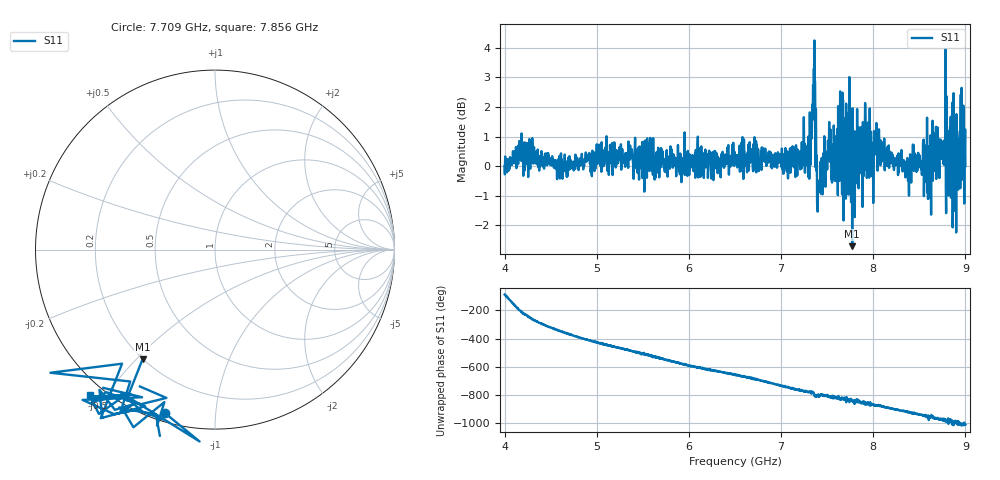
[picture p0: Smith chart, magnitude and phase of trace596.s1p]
! Created with skrf 1.8.0 (http://scikit-rf.org).
# Hz S RI R 50.0
!freq ReS11 ImS11
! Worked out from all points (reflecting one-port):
!   1601 points, 4 GHz to 9 GHz, reference 50 ohm
!   lowest |S11| = -2.7 dB at 7.772 GHz (marker M1), VSWR 6.47, Z = 9.89 - j26.1 ohm
!   phase of S11 starts at -88 deg and turns -922 deg over the sweep
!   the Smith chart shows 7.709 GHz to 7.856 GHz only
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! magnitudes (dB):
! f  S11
! 4 GHz  0.0
! 4.175 GHz  0.2
! 4.625 GHz  -0.4
! 5.25 GHz  0.2
! 5.875 GHz  0.1
! 6.5 GHz  0.2
! 7.125 GHz  0.7
! 7.284 GHz  0.3
! 7.319 GHz  0.0
! 7.347 GHz  2.7
! 7.362 GHz  4.2
! 7.397 GHz  -1.5
! 7.412 GHz  -0.9
! 7.512 GHz  0.5
! 7.575 GHz  0.8
! 7.65 GHz  1.2
! 7.75 GHz  -0.2
! 7.772 GHz  -2.7
! 7.922 GHz  -0.1
! 7.981 GHz  -0.3
! 8.375 GHz  -0.2
! 8.441 GHz  -0.2
! 8.612 GHz  -0.4
! 8.656 GHz  0.9
! 8.791 GHz  -1.6
! 8.919 GHz  -0.1
! 8.959 GHz  2.6
! 9 GHz  0.0
